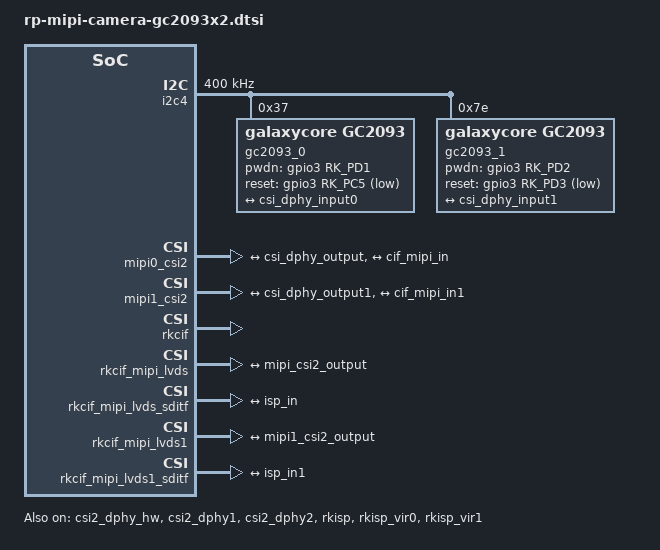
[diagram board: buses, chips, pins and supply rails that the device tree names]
// SPDX-License-Identifier: (GPL-2.0+ OR MIT)
/*
 * Copyright (c) 2023 RPDZKJ  Co., Ltd.
 *
 */

&i2c4 {
    status = "okay";
    clock-frequency = <400000>;
    pinctrl-names = "default";
    pinctrl-0 = <&i2c4m2_xfer>;

    gc2093_0: gc2093_0@37 {
        compatible = "galaxycore,gc2093";
        status = "okay";
        reg = <0x37>;
        clocks = <&cru MCLK_REF_MIPI0>;
        clock-names = "xvclk";
       // power-domains = <&power RV1106_PD_VI>;
        pinctrl-names = "default";
        pinctrl-0 = <&mipi_refclk_out0>;
        pwdn-gpios = <&gpio3 RK_PD1 GPIO_ACTIVE_HIGH>;
        reset-gpios = <&gpio3 RK_PC5 GPIO_ACTIVE_LOW>;
        rockchip,camera-module-index = <0>;
        rockchip,camera-module-facing = "back";
        rockchip,camera-module-name = "SIDA209300461";
        rockchip,camera-module-lens-name = "60IRC_F20";
        port {
            ucam_out0: endpoint {
                remote-endpoint = <&csi_dphy_input0>;
                data-lanes = <1 2>;
            };
        };
    };
    
    gc2093_1: gc2093_1@7e {
        compatible = "galaxycore,gc2093";
        status = "okay";
        reg = <0x7e>;
        clocks = <&cru MCLK_REF_MIPI1>;
        clock-names = "xvclk";
        //power-domains = <&power RV1106_PD_VI>;
        pinctrl-names = "default";
        pinctrl-0 = <&mipi_refclk_out1>;
        pwdn-gpios = <&gpio3 RK_PD2 GPIO_ACTIVE_HIGH>;
        reset-gpios = <&gpio3 RK_PD3 GPIO_ACTIVE_LOW>;
        rockchip,camera-module-index = <1>;
        rockchip,camera-module-facing = "back";
        rockchip,camera-module-name = "SIDA209300461";
        rockchip,camera-module-lens-name = "60IRC_F20";
        port {
            ucam_out1: endpoint {
                remote-endpoint = <&csi_dphy_input1>;
                data-lanes = <1 2>;
            };
        };
    };

};

&csi2_dphy_hw {
    status = "okay";
};

&csi2_dphy1 {
    status = "okay";

    ports {
        #address-cells = <1>;
        #size-cells = <0>;

        port@0 {
            reg = <0>;
            #address-cells = <1>;
            #size-cells = <0>;

            csi_dphy_input0: endpoint@1 {
                reg = <1>;
                remote-endpoint = <&ucam_out0>;
                data-lanes = <1 2>;
            };
        };

        port@1 {
            reg = <1>;
            #address-cells = <1>;
            #size-cells = <0>;

            csi_dphy_output: endpoint@0 {
                reg = <0>;
                remote-endpoint = <&mipi_csi2_input>;
            };
        };
    };
};

&csi2_dphy2 {
    status = "okay";

    ports {
        #address-cells = <1>;
        #size-cells = <0>;

        port@0 {
            reg = <0>;
            #address-cells = <1>;
            #size-cells = <0>;

            csi_dphy_input1: endpoint@1 {
                reg = <1>;
                remote-endpoint = <&ucam_out1>;
                data-lanes = <1 2>;
            };
        };

        port@1 {
            reg = <1>;
            #address-cells = <1>;
            #size-cells = <0>;

            csi_dphy_output1: endpoint@0 {
                reg = <0>;
                remote-endpoint = <&mipi1_csi2_input>;
            };
        };
    };
};

&mipi0_csi2 {
    status = "okay";

    ports {
        #address-cells = <1>;
        #size-cells = <0>;

        port@0 {
            reg = <0>;
            #address-cells = <1>;
            #size-cells = <0>;

            mipi_csi2_input: endpoint@1 {
                reg = <1>;
                remote-endpoint = <&csi_dphy_output>;
            };
        };

        port@1 {
            reg = <1>;
            #address-cells = <1>;
            #size-cells = <0>;

            mipi_csi2_output: endpoint@0 {
                reg = <0>;
                remote-endpoint = <&cif_mipi_in>;
            };
        };
    };
};

&mipi1_csi2 {
    status = "okay";

    ports {
        #address-cells = <1>;
        #size-cells = <0>;

        port@0 {
            reg = <0>;
            #address-cells = <1>;
            #size-cells = <0>;

            mipi1_csi2_input: endpoint@1 {
                reg = <1>;
                remote-endpoint = <&csi_dphy_output1>;
            };
        };

        port@1 {
            reg = <1>;
            #address-cells = <1>;
            #size-cells = <0>;

            mipi1_csi2_output: endpoint@0 {
                reg = <0>;
                remote-endpoint = <&cif_mipi_in1>;
            };
        };
    };
};

&rkcif {
    status = "okay";
    pinctrl-names = "default";
    pinctrl-0 = <&mipi_pins>;
};

&rkcif_mipi_lvds {
    status = "okay";

    port {
        /* MIPI CSI-2 endpoint */
        cif_mipi_in: endpoint {
            remote-endpoint = <&mipi_csi2_output>;
        };
    };
};

&rkcif_mipi_lvds_sditf {
    status = "okay";

    port {
        /* MIPI CSI-2 endpoint */
        mipi_lvds_sditf: endpoint {
            remote-endpoint = <&isp_in>;
        };
    };
};

&rkcif_mipi_lvds1 {
    status = "okay";

    port {
        /* MIPI CSI-2 endpoint */
        cif_mipi_in1: endpoint {
            remote-endpoint = <&mipi1_csi2_output>;
        };
    };
};

&rkcif_mipi_lvds1_sditf {
    status = "okay";

    port {
        /* MIPI CSI-2 endpoint */
        mipi_lvds1_sditf: endpoint {
            remote-endpoint = <&isp_in1>;
        };
    };
};

&rkisp {
    status = "okay";
};

&rkisp_vir0 {
    status = "okay";

    port@0 {
        isp_in: endpoint {
            remote-endpoint = <&mipi_lvds_sditf>;
        };
    };
};

&rkisp_vir1 {
    status = "okay";

    port@0 {
        isp_in1: endpoint {
            remote-endpoint = <&mipi_lvds1_sditf>;
        };
    };
};
